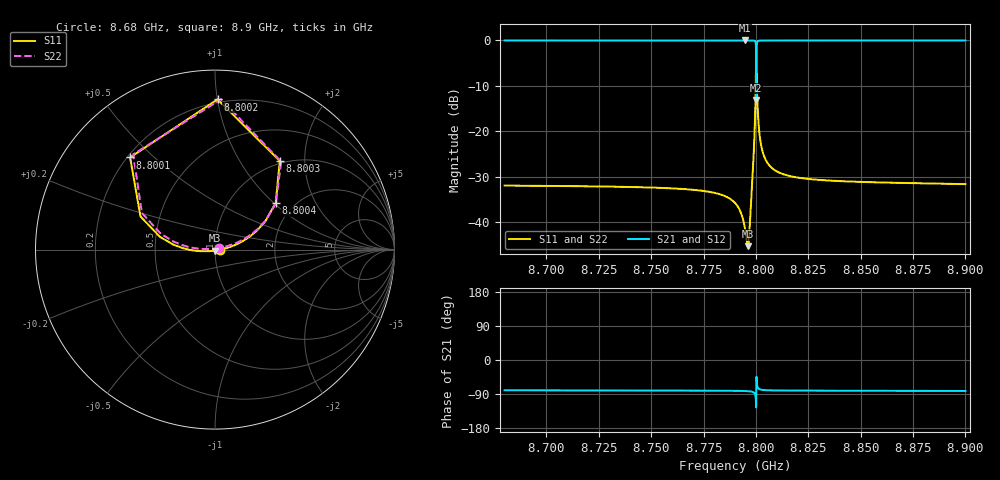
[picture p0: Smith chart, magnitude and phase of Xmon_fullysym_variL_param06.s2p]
! Sonnet Data File
! From: emgraph Version : 16.52
! From Project: 171117_Xmon_fullysym
! Data is De-embedded
! Data File Written: 11/26/2017 17:14:23
!< HDATE 11/22/2017 16:48:52
!< MDATE 11/23/2017 10:16:42
!< PARAMS
!< Lj = 11.0
!< Gap = 1.0
!< Pwid = 2000.0
!< Airgap = 6.0
!< Width = 10.0
!< Lj1 = 10.25
!< END PARAMS
# GHZ S MA R 50.90000
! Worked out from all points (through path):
!   2201 points, 8.68 GHz to 8.9 GHz, reference 50.9 ohm
!   highest |S21| = 0.00 dB at 8.7947 GHz (marker M1); lowest = -13.1 dB at 8.8002 GHz (marker M2)
!   lowest |S11| = -45.3 dB at 8.7961 GHz (marker M3), VSWR 1.01, Z = 51 - j0.543 ohm
!   |S11| at or under -10 dB: start of sweep to 8.7999 GHz; 8.8005 GHz to end of sweep
!   |S22| runs from -45.0 to -1.5 dB; largest |S21 - S12| = 2.3e-10
!   S11 on the Smith chart (normalised r, x): 8.68 GHz: 1.05, -0.00; 8.8001 GHz: 0.21, +0.42; 8.8002 GHz: 0.18, +1.00; 8.8003 GHz: 0.96, +1.51; 8.8004 GHz: 1.62, +1.02; 8.9 GHz: 1.05, -0.00
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8.68  0.02517 -1.5  0.9997 -79.8  0.9997 -79.8  0.02517 21.9
!< P1 F=8.68 Eeff=(6.44843488 -2.9797e-5) Z0=(50.9086135 1.17022e-4) R=0.0 C=0.0
!< P2 F=8.68 Eeff=(6.44843488 -2.9797e-5) Z0=(50.9086135 1.17022e-4) R=0.0 C=0.0
8.7167  0.0248 -2.1  0.9997 -80.1  0.9997 -80.1  0.0248 21.8
8.7534  0.02383 -3.1  0.9997 -80.5  0.9997 -80.5  0.02383 22.0
8.7791  0.02121 -5.2  0.9998 -80.9  0.9998 -80.9  0.02121 23.4
8.79  0.01622 -10.4  0.9998 -81.3  0.9998 -81.3  0.01624 27.9
8.7928  0.01269 -16.5  0.9999 -81.6  0.9999 -81.6  0.01273 33.6
8.7947  0.008596 -30.6  0.9999 -81.9  0.9999 -81.9  0.008679 47.5
8.7961  0.005418 -79.1  0.9999 -82.2  0.9999 -82.2  0.005649 94.7
8.7974  0.01264 -147.5  0.9997 -82.9  0.9997 -82.9  0.01286 159.6
8.7985  0.03585 -165.8  0.9987 -84.3  0.9987 -84.3  0.03605 175.0
8.7994  0.1048 -176.2  0.9914 -88.3  0.9914 -88.3  0.1051 176.3
8.8001  0.698 132.6  0.5736 -125.2  0.5736 -125.2  0.6995 130.7
8.8002  0.8368 89.0  0.2203 -44.2  0.2203 -44.2  0.8384 87.7
8.8003  0.612 53.8  0.7053 -45.0  0.7053 -45.0  0.6132 53.1
8.8004  0.4257 37.5  0.8716 -57.2  0.8716 -57.2  0.4264 37.3
8.8013  0.1157 13.1  0.9918 -75.7  0.9918 -75.7  0.1158 17.0
8.8018  0.08812 10.4  0.9954 -77.3  0.9954 -77.3  0.08821 16.0
8.8026  0.06755 7.9  0.9974 -78.5  0.9974 -78.5  0.0676 15.8
8.8058  0.04376 3.7  0.999 -79.9  0.999 -79.9  0.04377 16.7
8.8267  0.02955 -1.0  0.9996 -80.9  0.9996 -80.9  0.02955 19.2
8.8634  0.02714 -2.5  0.9996 -81.4  0.9996 -81.4  0.02714 19.8
8.9  0.02614 -3.4  0.9997 -81.8  0.9997 -81.8  0.02614 19.9
